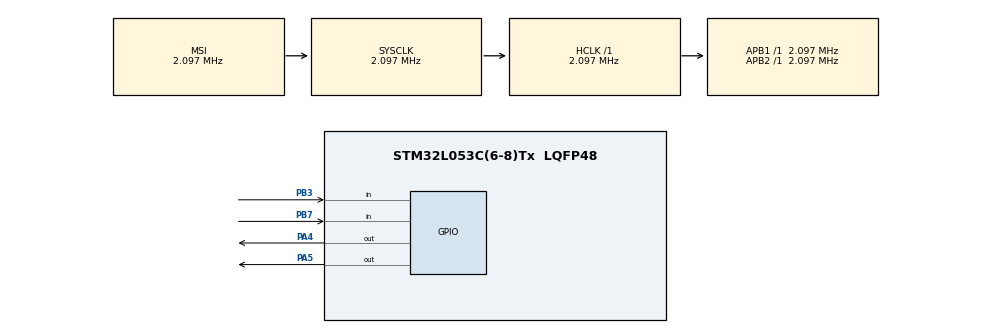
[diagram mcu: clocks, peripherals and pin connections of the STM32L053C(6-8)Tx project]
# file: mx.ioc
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Mcu.Family=STM32L0
Mcu.Name=STM32L053C(6-8)Tx
Mcu.Package=LQFP48
PA4.Signal=GPIO_Output
PA5.Signal=GPIO_Output
PB3.GPIO_PuPd=GPIO_PULLUP
PB3.Signal=GPIO_Input
PB7.GPIO_PuPd=GPIO_PULLDOWN
PB7.Signal=GPIO_Input
ProjectManager.HeapSize=0x200
ProjectManager.StackSize=0x400
ProjectManager.TargetToolchain=Makefile
RCC.AHBFreq_Value=2097000
RCC.APB1Freq_Value=2097000
RCC.APB1TimFreq_Value=2097000
RCC.APB2Freq_Value=2097000
RCC.APB2TimFreq_Value=2097000
RCC.HSE_VALUE=8000000
RCC.HSI16_VALUE=16000000
RCC.HSI48_VALUE=48000000
RCC.HSI_VALUE=16000000
RCC.LSE_VALUE=32768
RCC.MSI_VALUE=2097000
RCC.SYSCLKFreq_VALUE=2097000
RCC.VCOOutputFreq_Value=48000000
board=custom

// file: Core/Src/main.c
/* USER CODE BEGIN Header */
/**
  ******************************************************************************
  * @file           : main.c
  * @brief          : Main program body
  ******************************************************************************
  * @attention
  *
  * Copyright (c) 2023 STMicroelectronics.
  * All rights reserved.
  *
  * This software is licensed under terms that can be found in the LICENSE file
  * in the root directory of this software component.
  * If no LICENSE file comes with this software, it is provided AS-IS.
  *
  ******************************************************************************
  */
/* USER CODE END Header */
#include "main.h"
#include "gpio.h"

void SystemClock_Config(void);

int main(void)
{

  /* MCU Configuration--------------------------------------------------------*/

  /* Reset of all peripherals, Initializes the Flash interface and the Systick. */
  HAL_Init();

  /* Configure the system clock */
  SystemClock_Config();

  /* Initialize all configured peripherals */
  MX_GPIO_Init();
  /* USER CODE BEGIN 2 */

  //Sätt PA4 hög för att släcka LED
  HAL_GPIO_WritePin(GPIOA,GPIO_PIN_4,GPIO_PIN_SET);

  /* USER CODE END 2 */

  /* Infinite loop */
  /* USER CODE BEGIN WHILE */
  while (1)
  {

    uint8_t btn_0 = HAL_GPIO_ReadPin(GPIOB,GPIO_PIN_7);
    uint8_t btn_1 = HAL_GPIO_ReadPin(GPIOB,GPIO_PIN_3);

    if(btn_0 && !(btn_1))
    {
      HAL_GPIO_TogglePin(GPIOA,GPIO_PIN_4);
      HAL_GPIO_TogglePin(GPIOA,GPIO_PIN_5);
    }
    else if (btn_0)
    {
      HAL_GPIO_TogglePin(GPIOA,GPIO_PIN_4);
      HAL_GPIO_WritePin(GPIOA,GPIO_PIN_5,GPIO_PIN_RESET);
    }
    else if (!(btn_1))
    {
      HAL_GPIO_TogglePin(GPIOA,GPIO_PIN_5);
      HAL_GPIO_WritePin(GPIOA,GPIO_PIN_4,GPIO_PIN_SET);
    }
    else
    {
      HAL_GPIO_WritePin(GPIOA,GPIO_PIN_5,GPIO_PIN_RESET);
      HAL_GPIO_WritePin(GPIOA,GPIO_PIN_4,GPIO_PIN_SET);
    }

    HAL_Delay(250);

    /* USER CODE END WHILE */

  }
}

void SystemClock_Config(void)
{
  RCC_OscInitTypeDef RCC_OscInitStruct = {0};
  RCC_ClkInitTypeDef RCC_ClkInitStruct = {0};

  /** Configure the main internal regulator output voltage
  */
  __HAL_PWR_VOLTAGESCALING_CONFIG(PWR_REGULATOR_VOLTAGE_SCALE1);

  /** Initializes the RCC Oscillators according to the specified parameters
  * in the RCC_OscInitTypeDef structure.
  */
  RCC_OscInitStruct.OscillatorType = RCC_OSCILLATORTYPE_MSI;
  RCC_OscInitStruct.MSIState = RCC_MSI_ON;
  RCC_OscInitStruct.MSICalibrationValue = 0;
  RCC_OscInitStruct.MSIClockRange = RCC_MSIRANGE_5;
  RCC_OscInitStruct.PLL.PLLState = RCC_PLL_NONE;
  if (HAL_RCC_OscConfig(&RCC_OscInitStruct) != HAL_OK)
  {
    Error_Handler();
  }

  /** Initializes the CPU, AHB and APB buses clocks
  */
  RCC_ClkInitStruct.ClockType = RCC_CLOCKTYPE_HCLK|RCC_CLOCKTYPE_SYSCLK
                              |RCC_CLOCKTYPE_PCLK1|RCC_CLOCKTYPE_PCLK2;
  RCC_ClkInitStruct.SYSCLKSource = RCC_SYSCLKSOURCE_MSI;
  RCC_ClkInitStruct.AHBCLKDivider = RCC_SYSCLK_DIV1;
  RCC_ClkInitStruct.APB1CLKDivider = RCC_HCLK_DIV1;
  RCC_ClkInitStruct.APB2CLKDivider = RCC_HCLK_DIV1;

  if (HAL_RCC_ClockConfig(&RCC_ClkInitStruct, FLASH_LATENCY_0) != HAL_OK)
  {
    Error_Handler();
  }
}

void Error_Handler(void)
{
  __disable_irq();
  while (1)
  {
  }
}
